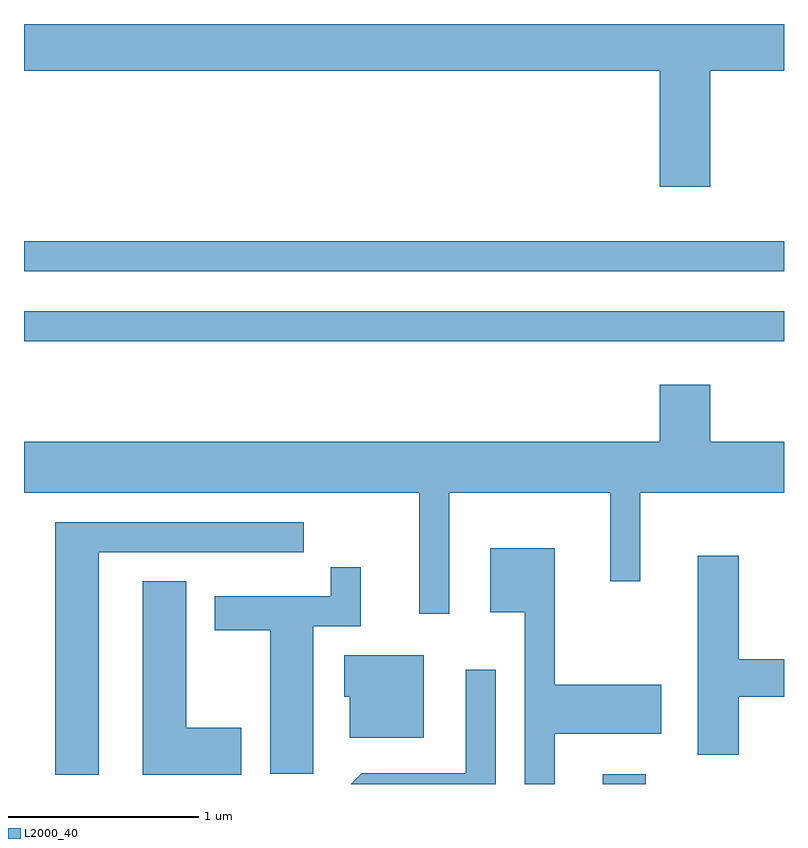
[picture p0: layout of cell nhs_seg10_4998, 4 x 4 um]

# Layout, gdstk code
import gdstk
lib = gdstk.Library(unit=1e-6, precision=1e-09)
def R(c, l, rs):  # rectangles x0, y0, x1, y1
    for r in rs: c.add(gdstk.rectangle(r[:2], r[2:], *l))
def P(c, l, *ps):  # polygons
    for p in ps: c.add(gdstk.Polygon(p, *l))
L2000_40 = (2000, 40)

nhs_seg10_4998 = lib.new_cell('nhs_seg10_4998')
R(nhs_seg10_4998, L2000_40, [(334.656,2194.522,334.884,2194.574), (331.611,2196.851,335.611,2197.009), (331.611,2197.221,335.611,2197.379)])
P(nhs_seg10_4998, L2000_40, [(335.224,2198.276),(335.611,2198.276),(335.611,2198.522),(331.611,2198.522),(331.611,2198.276),(334.956,2198.276),(334.956,2197.666),(335.224,2197.666)],
  [(333.849,2196.056),(334.696,2196.056),(334.696,2195.588),(334.854,2195.588),(334.854,2196.056),(335.611,2196.056),(335.611,2196.324),(335.224,2196.324),(335.224,2196.624),(334.956,2196.624),(334.956,2196.324),(331.611,2196.324),(331.611,2196.056),(333.691,2196.056),(333.691,2195.418),(333.849,2195.418)],
  [(332.004,2195.741),(333.083,2195.741),(333.083,2195.899),(331.776,2195.899),(331.776,2194.571),(332.004,2194.571)],
  [(334.404,2194.786),(334.964,2194.786),(334.964,2195.044),(334.404,2195.044),(334.404,2195.764),(334.066,2195.764),(334.066,2195.426),(334.246,2195.426),(334.246,2194.522),(334.404,2194.522)],
  [(335.374,2194.981),(335.611,2194.981),(335.611,2195.179),(335.374,2195.179),(335.374,2195.724),(335.156,2195.724),(335.156,2194.676),(335.374,2194.676)],
  [(333.134,2195.351),(333.384,2195.351),(333.384,2195.663),(333.226,2195.663),(333.226,2195.509),(332.616,2195.509),(332.616,2195.331),(332.906,2195.331),(332.906,2194.576),(333.134,2194.576)],
  [(332.754,2194.819),(332.464,2194.819),(332.464,2195.589),(332.236,2195.589),(332.236,2194.571),(332.754,2194.571)],
  [(333.714,2195.199),(333.296,2195.199),(333.296,2194.981),(333.326,2194.981),(333.326,2194.766),(333.714,2194.766)],
  [(334.094,2195.123),(333.936,2195.123),(333.936,2194.579),(333.389,2194.579),(333.332,2194.522),(334.094,2194.522)])

lib.write_gds('nhs_seg10_4998.gds')
